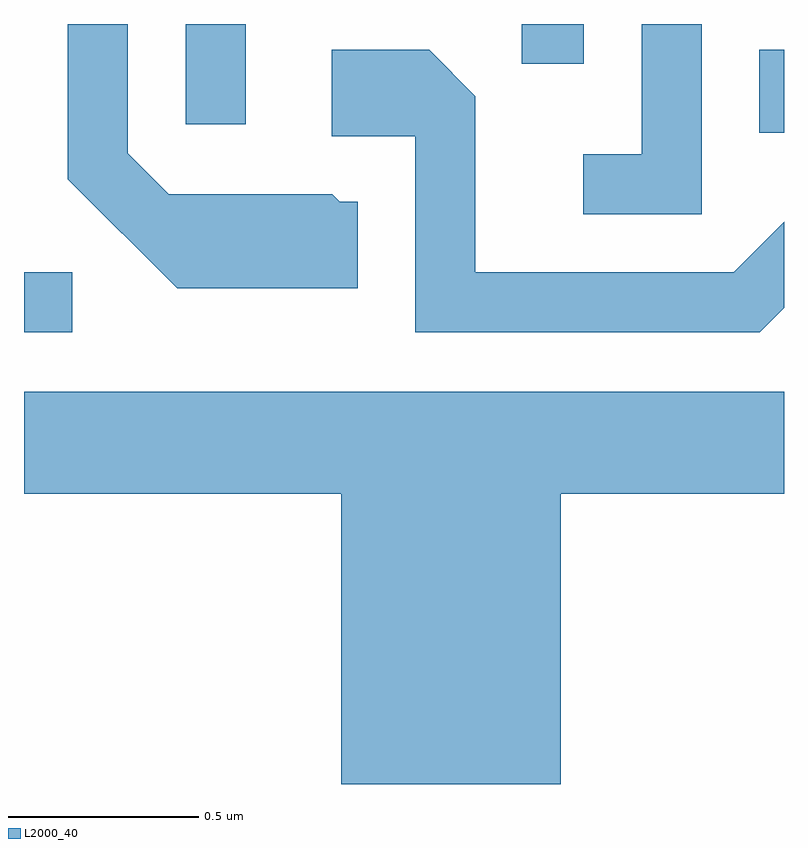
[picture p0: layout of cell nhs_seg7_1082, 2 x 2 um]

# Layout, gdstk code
import gdstk
lib = gdstk.Library(unit=1e-6, precision=1e-09)
def R(c, l, rs):  # rectangles x0, y0, x1, y1
    for r in rs: c.add(gdstk.rectangle(r[:2], r[2:], *l))
def P(c, l, *ps):  # polygons
    for p in ps: c.add(gdstk.Polygon(p, *l))
L2000_40 = (2000, 40)

nhs_seg7_1082 = lib.new_cell('nhs_seg7_1082')
R(nhs_seg7_1082, L2000_40, [(192.611,1792.441,192.738,1792.599), (194.546,1792.966,194.611,1793.184), (193.036,1792.988,193.194,1793.252), (193.921,1793.148,194.084,1793.252)])
P(nhs_seg7_1082, L2000_40, [(193.489,1792.784),(193.442,1792.784),(193.422,1792.804),(192.992,1792.804),(192.884,1792.912),(192.884,1793.252),(192.726,1793.252),(192.726,1792.844),(193.014,1792.556),(193.489,1792.556)],
  [(194.394,1793.252),(194.236,1793.252),(194.236,1792.909),(194.083,1792.909),(194.083,1792.751),(194.394,1792.751)],
  [(194.611,1792.505),(194.611,1792.731),(194.479,1792.599),(193.799,1792.599),(193.799,1793.062),(193.677,1793.184),(193.421,1793.184),(193.421,1792.956),(193.641,1792.956),(193.641,1792.441),(194.547,1792.441)],
  [(194.024,1792.016),(194.611,1792.016),(194.611,1792.284),(192.611,1792.284),(192.611,1792.016),(193.446,1792.016),(193.446,1791.252),(194.024,1791.252)])

lib.write_gds('nhs_seg7_1082.gds')
